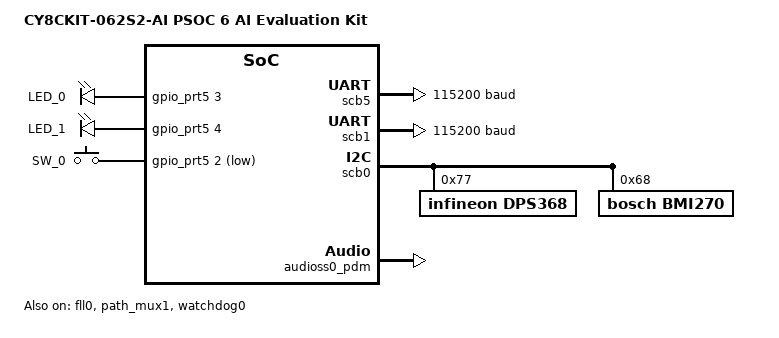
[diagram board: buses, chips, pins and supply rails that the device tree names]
/*
 * Copyright (c) 2024 Arrow Electronics.
 *
 * SPDX-License-Identifier: Apache-2.0
 */

/dts-v1/;
#include <infineon/cat1a/mpns/CY8C624ABZI_S2D44.dtsi>
#include <infineon/cat1a/system_clocks.dtsi>
#include <zephyr/dt-bindings/input/input-event-codes.h>

/ {
	model = "CY8CKIT-062S2-AI PSOC 6 AI Evaluation Kit";
	compatible = "infineon,cy8ckit_062s2_ai", "cypress,PSOC6";

	chosen {
		zephyr,console = &uart5;
		zephyr,shell-uart = &uart5;
		zephyr,sram = &sram0;
		zephyr,flash = &flash0;
	};

	aliases {
		led0 = &user_led0;
		sw0 = &user_bt;
		watchdog0 = &watchdog0;
		pressure-sensor = &dps368;
		accel0 = &bmi270;
	};

	leds {
		compatible = "gpio-leds";

		user_led0: led_0 {
			label = "LED_0";
			gpios = <&gpio_prt5 3 GPIO_ACTIVE_HIGH>;
		};

		user_led1: led_1 {
			label = "LED_1";
			gpios = <&gpio_prt5 4 GPIO_ACTIVE_HIGH>;
		};
	};

	gpio_keys {
		compatible = "gpio-keys";

		user_bt: button_0 {
			label = "SW_0";
			gpios = <&gpio_prt5 2 (GPIO_PULL_UP | GPIO_ACTIVE_LOW)>;
			zephyr,code = <INPUT_KEY_0>;
		};
	};
};

&fll0 {
	status = "okay";
	clock-frequency = <100000000>;
};

&clk_hf0 {
	clock-div = <1>;
	clocks = <&fll0>;
};

/* CM4 core clock = 100MHz
 * &fll clock-frequency / &clk_hf0 clock-div / &clk_fast clock-div = 100MHz / 1 / 1 = 100MHz
 */
&clk_fast {
	clock-div = <1>;
};

/* CM0+ core clock = 50MHz
 * &fll clock-frequency / &clk_hf0 clock-div / &clk_slow clock-div = 100MHz / 1 / 2 = 50MHz
 */
&clk_slow {
	clock-div = <2>;
};

/* PERI core clock = 100MHz
 * &fll clock-frequency / &clk_hf0 clock-div / &clk_peri clock-div = 100MHz / 1 / 1 = 100MHz
 */
&clk_peri {
	clock-div = <1>;
};

/*
 * HF1 clock = 8 MHz (IMO via path_mux1) used as AUDIOSS PDM clock source.
 * With mclkDiv=1/2 => MCLKQ = 4 MHz.
 * PDM_CKO to microphone pins = 4 MHz (within IM72D128 1-4 MHz range).
 * sincDecRate is calculated at runtime from HF1 frequency and requested Fs.
 */
&path_mux1 {
	status = "okay";
};

&clk_hf1 {
	clock-div = <1>;
	status = "okay";
};

&gpio_prt5 {
	status = "okay";
};

&gpio_prt10 {
	status = "okay";
};

/* UART connected to KitProg3 */
uart5: &scb5 {
	compatible = "infineon,uart";
	status = "okay";
	current-speed = <115200>;
	pinctrl-0 = <&p5_1_scb5_uart_tx &p5_0_scb5_uart_rx>;
	pinctrl-names = "default";
};

uart1: &scb1 {
	compatible = "infineon,uart";
	status = "okay";
	current-speed = <115200>;
	pinctrl-0 = <&p10_0_scb1_uart_rx &p10_1_scb1_uart_tx>;
	pinctrl-names = "default";
};

i2c0: &scb0 {
	compatible = "infineon,i2c";
	status = "okay";

	#address-cells = <1>;
	#size-cells = <0>;

	pinctrl-0 = <&p0_2_scb0_i2c_scl &p0_3_scb0_i2c_sda>;
	pinctrl-names = "default";

	dps368: dps368@77 {
		compatible = "infineon,dps368", "infineon,dps310";
		status = "okay";
		reg = <0x77>;
	};

	bmi270: bmi270@68 {
		compatible = "bosch,bmi270";
		status = "okay";
		reg = <0x68>;
	};
};

&p0_2_scb0_i2c_scl {
	drive-open-drain;
	input-enable;
};

&p0_3_scb0_i2c_sda {
	drive-open-drain;
	input-enable;
};

&p5_1_scb5_uart_tx {
	drive-push-pull;
};

&p5_0_scb5_uart_rx {
	input-enable;
};

&p10_1_scb1_uart_tx {
	drive-push-pull;
};

&p10_0_scb1_uart_rx {
	input-enable;
};

&watchdog0 {
	status = "okay";
};

/*
 * DMA1 (DW1) channel 26 is dedicated to PDM0 RX via 1-to-1 trigger
 * TRIG_OUT_1TO1_4_PDM0_RX_TO_PDMA1_TR_IN26.
 */
&dma1 {
	status = "okay";
};

/*
 * PDM microphones: Infineon IM72D128V01XTMA1 (XENSIV MEMS digital PDM).
 * U4 (left):  SELECT=GND  => PDM data on falling edge of PDM_CLK.
 * U5 (right): SELECT=VCC  => PDM data on rising edge of PDM_CLK.
 * Both share the PDM bus on P10.4 (PDM_CLK) and P10.5 (PDM_DATA).
 * Powered from VCC_3V3 rail; microphones placed ~27 mm apart.
 */
dmic_dev: &audioss0_pdm {
	status = "okay";
	pinctrl-0 = <&p10_4_audioss0_pdm_clk &p10_5_audioss0_pdm_data>;
	pinctrl-names = "default";
	hf-clock-idx = <1>;
	dmas = <&dma1 26>;
	dma-names = "rx";
};

&p10_4_audioss0_pdm_clk {
	drive-push-pull;
};

&p10_5_audioss0_pdm_data {
	input-enable;
};
